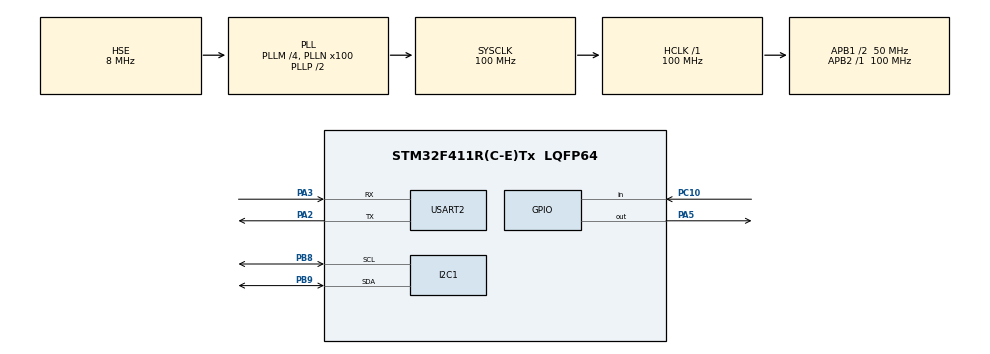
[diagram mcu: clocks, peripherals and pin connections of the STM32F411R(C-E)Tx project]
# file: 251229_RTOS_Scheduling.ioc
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FREERTOS.Tasks01=defaultTask,0,128,StartDefaultTask,Default,NULL,Dynamic,NULL,NULL;buttonTaskID,0,128,button_Task,Default,NULL,Dynamic,NULL,NULL;FSMTaskID,0,128,FSM_Task,Default,NULL,Dynamic,NULL,NULL;LEDTaskID,0,128,LED_Task,Default,NULL,Dynamic,NULL,NULL
FREERTOS.configUSE_NEWLIB_REENTRANT=1
Mcu.Family=STM32F4
Mcu.Name=STM32F411R(C-E)Tx
Mcu.Package=LQFP64
NVIC.PriorityGroup=NVIC_PRIORITYGROUP_4
NVIC.TIM1_TRG_COM_TIM11_IRQn=true\:15\:0\:false\:false\:true\:false\:false\:true\:true
NVIC.TimeBase=TIM1_TRG_COM_TIM11_IRQn
NVIC.TimeBaseIP=TIM11
PA13.Mode=Serial_Wire
PA13.Signal=SYS_JTMS-SWDIO
PA14.Mode=Serial_Wire
PA14.Signal=SYS_JTCK-SWCLK
PA2.Mode=Asynchronous
PA2.Signal=USART2_TX
PA3.Mode=Asynchronous
PA3.Signal=USART2_RX
PA5.Signal=GPIO_Output
PB8.Mode=I2C
PB8.Signal=I2C1_SCL
PB9.Mode=I2C
PB9.Signal=I2C1_SDA
PC10.Signal=GPIO_Input
PH0\ -\ OSC_IN.Mode=HSE-External-Oscillator
PH0\ -\ OSC_IN.Signal=RCC_OSC_IN
PH1\ -\ OSC_OUT.Mode=HSE-External-Oscillator
PH1\ -\ OSC_OUT.Signal=RCC_OSC_OUT
ProjectManager.HeapSize=0x200
ProjectManager.StackSize=0x400
ProjectManager.TargetToolchain=STM32CubeIDE
RCC.48MHZClocksFreq_Value=50000000
RCC.AHBFreq_Value=100000000
RCC.APB1CLKDivider=RCC_HCLK_DIV2
RCC.APB1Freq_Value=50000000
RCC.APB1TimFreq_Value=100000000
RCC.APB2Freq_Value=100000000
RCC.APB2TimFreq_Value=100000000
RCC.CortexFreq_Value=100000000
RCC.HCLKFreq_Value=100000000
RCC.HSE_VALUE=8000000
RCC.HSI_VALUE=16000000
RCC.LSE_VALUE=32768
RCC.PLLM=4
RCC.PLLN=100
RCC.PLLSourceVirtual=RCC_PLLSOURCE_HSE
RCC.SYSCLKFreq_VALUE=100000000
RCC.SYSCLKSource=RCC_SYSCLKSOURCE_PLLCLK
RCC.VCOOutputFreq_Value=200000000
USART2.VirtualMode=VM_ASYNC
VP_FREERTOS_VS_CMSIS_V1.Mode=CMSIS_V1
VP_SYS_VS_tim11.Mode=TIM11
board=custom

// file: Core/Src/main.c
/* USER CODE BEGIN Header */
/**
  ******************************************************************************
  * @file           : main.c
  * @brief          : Main program body
  ******************************************************************************
  * @attention
  *
  * Copyright (c) 2025 STMicroelectronics.
  * All rights reserved.
  *
  * This software is licensed under terms that can be found in the LICENSE file
  * in the root directory of this software component.
  * If no LICENSE file comes with this software, it is provided AS-IS.
  *
  ******************************************************************************
  */
/* USER CODE END Header */
#include "main.h"
#include "cmsis_os.h"

/* USER CODE BEGIN Includes */
#include <stdio.h>
#include <string.h>
#include "../driver/btn/btn.h"
#include "../driver/lcd/lcd.h"
/* USER CODE END Includes */

I2C_HandleTypeDef hi2c1;

UART_HandleTypeDef huart2;

osThreadId defaultTaskHandle;
osThreadId buttonTaskIDHandle;
osThreadId FSMTaskIDHandle;
osThreadId LEDTaskIDHandle;
/* USER CODE BEGIN PV */
// LED State enum
typedef enum {LED_OFF, LED_ON} led_state_t;

// Shared Memory
button_state_t buttonSharedMem = NO_ACT;
led_state_t ledSharedMem = LED_OFF;

/* USER CODE END PV */

void SystemClock_Config(void);
static void MX_GPIO_Init(void);
static void MX_USART2_UART_Init(void);
static void MX_I2C1_Init(void);
void StartDefaultTask(void const * argument);
void button_Task(void const * argument);
void FSM_Task(void const * argument);
void LED_Task(void const * argument);

int main(void)
{

  /* MCU Configuration--------------------------------------------------------*/

  /* Reset of all peripherals, Initializes the Flash interface and the Systick. */
  HAL_Init();

  /* Configure the system clock */
  SystemClock_Config();

  /* Initialize all configured peripherals */
  MX_GPIO_Init();
  MX_USART2_UART_Init();
  MX_I2C1_Init();

  /* Create the thread(s) */
  /* definition and creation of defaultTask */
  osThreadDef(defaultTask, StartDefaultTask, osPriorityNormal, 0, 128);
  defaultTaskHandle = osThreadCreate(osThread(defaultTask), NULL);

  /* definition and creation of buttonTaskID */
  osThreadDef(buttonTaskID, button_Task, osPriorityNormal, 0, 128);
  buttonTaskIDHandle = osThreadCreate(osThread(buttonTaskID), NULL);

  /* definition and creation of FSMTaskID */
  osThreadDef(FSMTaskID, FSM_Task, osPriorityNormal, 0, 128);
  FSMTaskIDHandle = osThreadCreate(osThread(FSMTaskID), NULL);

  /* definition and creation of LEDTaskID */
  osThreadDef(LEDTaskID, LED_Task, osPriorityNormal, 0, 128);
  LEDTaskIDHandle = osThreadCreate(osThread(LEDTaskID), NULL);

  /* Start scheduler */
  osKernelStart();

  /* We should never get here as control is now taken by the scheduler */

  /* Infinite loop */
  while (1)
  {

  }
}

void SystemClock_Config(void)
{
  RCC_OscInitTypeDef RCC_OscInitStruct = {0};
  RCC_ClkInitTypeDef RCC_ClkInitStruct = {0};

  /** Configure the main internal regulator output voltage
  */
  __HAL_RCC_PWR_CLK_ENABLE();
  __HAL_PWR_VOLTAGESCALING_CONFIG(PWR_REGULATOR_VOLTAGE_SCALE1);

  /** Initializes the RCC Oscillators according to the specified parameters
  * in the RCC_OscInitTypeDef structure.
  */
  RCC_OscInitStruct.OscillatorType = RCC_OSCILLATORTYPE_HSE;
  RCC_OscInitStruct.HSEState = RCC_HSE_ON;
  RCC_OscInitStruct.PLL.PLLState = RCC_PLL_ON;
  RCC_OscInitStruct.PLL.PLLSource = RCC_PLLSOURCE_HSE;
  RCC_OscInitStruct.PLL.PLLM = 4;
  RCC_OscInitStruct.PLL.PLLN = 100;
  RCC_OscInitStruct.PLL.PLLP = RCC_PLLP_DIV2;
  RCC_OscInitStruct.PLL.PLLQ = 4;
  if (HAL_RCC_OscConfig(&RCC_OscInitStruct) != HAL_OK)
  {
    Error_Handler();
  }

  /** Initializes the CPU, AHB and APB buses clocks
  */
  RCC_ClkInitStruct.ClockType = RCC_CLOCKTYPE_HCLK|RCC_CLOCKTYPE_SYSCLK
                              |RCC_CLOCKTYPE_PCLK1|RCC_CLOCKTYPE_PCLK2;
  RCC_ClkInitStruct.SYSCLKSource = RCC_SYSCLKSOURCE_PLLCLK;
  RCC_ClkInitStruct.AHBCLKDivider = RCC_SYSCLK_DIV1;
  RCC_ClkInitStruct.APB1CLKDivider = RCC_HCLK_DIV2;
  RCC_ClkInitStruct.APB2CLKDivider = RCC_HCLK_DIV1;

  if (HAL_RCC_ClockConfig(&RCC_ClkInitStruct, FLASH_LATENCY_3) != HAL_OK)
  {
    Error_Handler();
  }
}

static void MX_I2C1_Init(void)
{

  hi2c1.Instance = I2C1;
  hi2c1.Init.ClockSpeed = 100000;
  hi2c1.Init.DutyCycle = I2C_DUTYCYCLE_2;
  hi2c1.Init.OwnAddress1 = 0;
  hi2c1.Init.AddressingMode = I2C_ADDRESSINGMODE_7BIT;
  hi2c1.Init.DualAddressMode = I2C_DUALADDRESS_DISABLE;
  hi2c1.Init.OwnAddress2 = 0;
  hi2c1.Init.GeneralCallMode = I2C_GENERALCALL_DISABLE;
  hi2c1.Init.NoStretchMode = I2C_NOSTRETCH_DISABLE;
  if (HAL_I2C_Init(&hi2c1) != HAL_OK)
  {
    Error_Handler();
  }

}

static void MX_USART2_UART_Init(void)
{

  huart2.Instance = USART2;
  huart2.Init.BaudRate = 115200;
  huart2.Init.WordLength = UART_WORDLENGTH_8B;
  huart2.Init.StopBits = UART_STOPBITS_1;
  huart2.Init.Parity = UART_PARITY_NONE;
  huart2.Init.Mode = UART_MODE_TX_RX;
  huart2.Init.HwFlowCtl = UART_HWCONTROL_NONE;
  huart2.Init.OverSampling = UART_OVERSAMPLING_16;
  if (HAL_UART_Init(&huart2) != HAL_OK)
  {
    Error_Handler();
  }

}

static void MX_GPIO_Init(void)
{
  GPIO_InitTypeDef GPIO_InitStruct = {0};

  /* GPIO Ports Clock Enable */
  __HAL_RCC_GPIOH_CLK_ENABLE();
  __HAL_RCC_GPIOA_CLK_ENABLE();
  __HAL_RCC_GPIOC_CLK_ENABLE();
  __HAL_RCC_GPIOB_CLK_ENABLE();

  /*Configure GPIO pin Output Level */
  HAL_GPIO_WritePin(GPIOA, GPIO_PIN_5, GPIO_PIN_RESET);

  /*Configure GPIO pin : PA5 */
  GPIO_InitStruct.Pin = GPIO_PIN_5;
  GPIO_InitStruct.Mode = GPIO_MODE_OUTPUT_PP;
  GPIO_InitStruct.Pull = GPIO_NOPULL;
  GPIO_InitStruct.Speed = GPIO_SPEED_FREQ_LOW;
  HAL_GPIO_Init(GPIOA, &GPIO_InitStruct);

  /*Configure GPIO pin : PC10 */
  GPIO_InitStruct.Pin = GPIO_PIN_10;
  GPIO_InitStruct.Mode = GPIO_MODE_INPUT;
  GPIO_InitStruct.Pull = GPIO_NOPULL;
  HAL_GPIO_Init(GPIOC, &GPIO_InitStruct);

}

void StartDefaultTask(void const * argument)
{
  for(;;)
  {
    osDelay(1);
  }
}

void button_Task(void const * argument)
{
  /* USER CODE BEGIN button_Task */
	hBtn btnLed;
	Button_Init(&btnLed, GPIOC, GPIO_PIN_10);
  /* Infinite loop */
  for(;;)
  {
	  if (Button_GetState(&btnLed) == ACT_PUSHED) {
		  // write button state to shared memory
		  buttonSharedMem = ACT_PUSHED;
	  }
    osDelay(50);	// Button Check every 50ms
  }
  /* USER CODE END button_Task */
}

void FSM_Task(void const * argument)
{
  /* USER CODE BEGIN FSM_Task */
	int ledState = LED_OFF;
  /* Infinite loop */
  for(;;)
  {
	  // Check shared memory
	  switch (ledState) {
		case LED_OFF:
			// 1. read Button state from shared memory
			if (buttonSharedMem == ACT_PUSHED) {
				buttonSharedMem = NO_ACT;
				ledState = LED_ON;
			}
			// 2. write LED_OFF to shared memory
			ledSharedMem = LED_OFF;
			break;
		case LED_ON:
			// 1. read Button state from shared memory
			if (buttonSharedMem == ACT_PUSHED) {
				buttonSharedMem = NO_ACT;
				ledState = LED_OFF;
			}
			// 2. write LED_ON to shared memory
			ledSharedMem = LED_ON;
			break;
	}
    osDelay(10);	// check 10ms
  }
  /* USER CODE END FSM_Task */
}

void LED_Task(void const * argument)
{
  /* USER CODE BEGIN LED_Task */
	// UART Print
	char msg[50];
	// LCD Print
	LCD_Init(&hi2c1);
	led_state_t prevLedState = LED_OFF;
  /* Infinite loop */
  for(;;)
  {
	  // Read LED info from shared memory
	  if (ledSharedMem == LED_ON) {
		  // led on
		  if (prevLedState == ledSharedMem) continue;
		  prevLedState = ledSharedMem;
		  HAL_GPIO_WritePin(GPIOA, GPIO_PIN_5, GPIO_PIN_SET);
		  LCD_WriteStringXY(0, 0, "LED ON       ");
		  sprintf(msg, "LED ON\n");
		  HAL_UART_Transmit(&huart2, msg, strlen(msg), 1000);
	  }
	  else {
		  // led off
		  if (prevLedState == ledSharedMem) continue;
		  prevLedState = ledSharedMem;
		  HAL_GPIO_WritePin(GPIOA, GPIO_PIN_5, GPIO_PIN_RESET);
		  LCD_WriteStringXY(0, 0, "LED OFF       ");
		  sprintf(msg, "LED OFF\n");
		  HAL_UART_Transmit(&huart2, msg, strlen(msg), 1000);
	  }

    osDelay(10);	// 10ms
  }
  /* USER CODE END LED_Task */
}

void HAL_TIM_PeriodElapsedCallback(TIM_HandleTypeDef *htim)
{
  if (htim->Instance == TIM11)
  {
    HAL_IncTick();
  }
}

void Error_Handler(void)
{
  __disable_irq();
  while (1)
  {
  }
}
